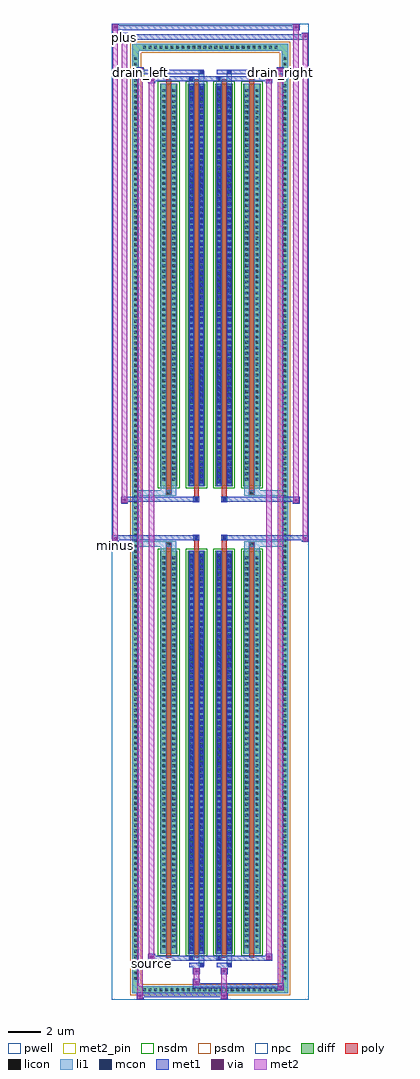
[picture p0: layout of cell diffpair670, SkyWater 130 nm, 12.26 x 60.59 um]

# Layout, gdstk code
import gdstk
lib = gdstk.Library(unit=1e-6, precision=5e-09)
def R(c, l, rs):  # rectangles x0, y0, x1, y1
    for r in rs: c.add(gdstk.rectangle(r[:2], r[2:], *l))
def A(c, l, x, y, w, h, nx, ny, dx, dy):  # array of equal rectangles
    R(c, l, [(x+i*dx, y+j*dy, x+i*dx+w, y+j*dy+h) for i in range(nx) for j in range(ny)])
def P(c, l, *ps):  # polygons
    for p in ps: c.add(gdstk.Polygon(p, *l))
pwell = (64, 44)
diff = (65, 20)
poly = (66, 20)
licon = (66, 44)
li1 = (67, 20)
mcon = (67, 44)
met1 = (68, 20)
via = (68, 44)
met2_pin = (69, 16)
met2 = (69, 20)
nsdm = (93, 44)
psdm = (94, 20)
npc = (95, 20)

diffpair670 = lib.new_cell('diffpair670')
R(diffpair670, pwell, [(-6.11,-29.86,6.11,30.73), (-3.43,-28.05,-0.01,-0.825), (0.01,-28.05,3.43,-0.825), (-3.43,0.825,-0.01,28.05), (0.01,0.825,3.43,28.05)])
A(diffpair670, diff, -4.285, -29.46, 0.41, 0.41, 25, 2, 0.34, 58.51)
A(diffpair670, diff, -4.84, -28.765, 0.41, 0.41, 1, 169, 0, 0.34)
A(diffpair670, diff, 4.43, -28.765, 0.41, 0.41, 1, 169, 0, 0.34)
A(diffpair670, diff, -3.12, -27.005, 1.08, 25, 4, 2, 1.72, 29.01)
R(diffpair670, diff, [(-4.285,-29.46,4.285,-29.05), (-4.84,-28.765,-4.43,28.765), (4.43,-28.765,4.84,28.765), (-4.285,29.05,4.285,29.46)])
P(diffpair670, diff, [(4.84,29.46),(-4.84,29.46),(-4.84,-29.05),(-4.43,-29.05),(-4.43,29.05),(4.43,29.05),(4.43,-29.05),(-4.43,-29.05),(-4.84,-29.05),(-4.84,-29.46),(4.84,-29.46)])
A(diffpair670, poly, -2.73, -27.255, 0.3, 25.5, 4, 2, 1.72, 29.01)
R(diffpair670, poly, [(-2.745,-1.755,-2.415,-1.425), (-2.745,-1.755,-2.415,-1.425), (-1.01,-1.755,-0.71,-1.355), (0.71,-1.755,1.01,-1.355), (2.415,-1.755,2.745,-1.425), (2.415,-1.755,2.745,-1.425), (-1.025,-1.355,-0.695,-1.025), (-1.025,-1.355,-0.695,-1.025), (0.695,-1.355,1.025,-1.025), (0.695,-1.355,1.025,-1.025), (-1.025,1.025,-0.695,1.355), (-1.025,1.025,-0.695,1.355), (0.695,1.025,1.025,1.355), (0.695,1.025,1.025,1.355), (-1.01,1.355,-0.71,1.755), (0.71,1.355,1.01,1.755), (-2.745,1.425,-2.415,1.755), (-2.745,1.425,-2.415,1.755), (2.415,1.425,2.745,1.755), (2.415,1.425,2.745,1.755)])
A(diffpair670, licon, -4.165, -29.34, 0.17, 0.17, 25, 2, 0.34, 58.51)
A(diffpair670, licon, -4.72, -28.645, 0.17, 0.17, 1, 169, 0, 0.34)
A(diffpair670, licon, 4.55, -28.645, 0.17, 0.17, 1, 169, 0, 0.34)
A(diffpair670, licon, -2.98, -26.66, 0.17, 0.17, 1, 72, 0, 0.34)
A(diffpair670, licon, -2.35, -26.66, 0.17, 0.17, 1, 72, 0, 0.34)
A(diffpair670, licon, -1.26, -26.66, 0.17, 0.17, 1, 72, 0, 0.34)
A(diffpair670, licon, -0.63, -26.66, 0.17, 0.17, 1, 72, 0, 0.34)
A(diffpair670, licon, 0.46, -26.66, 0.17, 0.17, 1, 72, 0, 0.34)
A(diffpair670, licon, 1.09, -26.66, 0.17, 0.17, 1, 72, 0, 0.34)
A(diffpair670, licon, 2.18, -26.66, 0.17, 0.17, 1, 72, 0, 0.34)
A(diffpair670, licon, 2.81, -26.66, 0.17, 0.17, 1, 72, 0, 0.34)
A(diffpair670, licon, -2.98, 2.35, 0.17, 0.17, 1, 72, 0, 0.34)
A(diffpair670, licon, -2.35, 2.35, 0.17, 0.17, 1, 72, 0, 0.34)
A(diffpair670, licon, -1.26, 2.35, 0.17, 0.17, 1, 72, 0, 0.34)
A(diffpair670, licon, -0.63, 2.35, 0.17, 0.17, 1, 72, 0, 0.34)
A(diffpair670, licon, 0.46, 2.35, 0.17, 0.17, 1, 72, 0, 0.34)
A(diffpair670, licon, 1.09, 2.35, 0.17, 0.17, 1, 72, 0, 0.34)
A(diffpair670, licon, 2.18, 2.35, 0.17, 0.17, 1, 72, 0, 0.34)
A(diffpair670, licon, 2.81, 2.35, 0.17, 0.17, 1, 72, 0, 0.34)
R(diffpair670, licon, [(-2.665,-1.675,-2.495,-1.505), (2.495,-1.675,2.665,-1.505), (-0.945,-1.275,-0.775,-1.105), (0.775,-1.275,0.945,-1.105), (-0.945,1.105,-0.775,1.275), (0.775,1.105,0.945,1.275), (-2.665,1.505,-2.495,1.675), (2.495,1.505,2.665,1.675)])
A(diffpair670, li1, -4.245, -29.42, 0.33, 0.33, 25, 2, 0.34, 58.51)
A(diffpair670, li1, -4.8, -28.725, 0.33, 0.33, 1, 169, 0, 0.34)
A(diffpair670, li1, 4.47, -28.725, 0.33, 0.33, 1, 169, 0, 0.34)
A(diffpair670, li1, -1.26, -26.83, 0.17, 0.17, 1, 69, 0, 0.36)
A(diffpair670, li1, -0.63, -26.83, 0.17, 0.17, 1, 69, 0, 0.36)
A(diffpair670, li1, 0.46, -26.83, 0.17, 0.17, 1, 69, 0, 0.36)
A(diffpair670, li1, 1.09, -26.83, 0.17, 0.17, 1, 69, 0, 0.36)
A(diffpair670, li1, -3.06, -26.74, 0.33, 0.33, 1, 72, 0, 0.34)
A(diffpair670, li1, -2.43, -26.74, 0.33, 0.33, 1, 72, 0, 0.34)
A(diffpair670, li1, -1.34, -26.74, 0.33, 0.33, 1, 72, 0, 0.34)
A(diffpair670, li1, -0.71, -26.74, 0.33, 0.33, 1, 72, 0, 0.34)
A(diffpair670, li1, 0.38, -26.74, 0.33, 0.33, 1, 72, 0, 0.34)
A(diffpair670, li1, 1.01, -26.74, 0.33, 0.33, 1, 72, 0, 0.34)
A(diffpair670, li1, 2.1, -26.74, 0.33, 0.33, 1, 72, 0, 0.34)
A(diffpair670, li1, 2.73, -26.74, 0.33, 0.33, 1, 72, 0, 0.34)
A(diffpair670, li1, -1.26, 2.18, 0.17, 0.17, 1, 69, 0, 0.36)
A(diffpair670, li1, -0.63, 2.18, 0.17, 0.17, 1, 69, 0, 0.36)
A(diffpair670, li1, 0.46, 2.18, 0.17, 0.17, 1, 69, 0, 0.36)
A(diffpair670, li1, 1.09, 2.18, 0.17, 0.17, 1, 69, 0, 0.36)
A(diffpair670, li1, -3.06, 2.27, 0.33, 0.33, 1, 72, 0, 0.34)
A(diffpair670, li1, -2.43, 2.27, 0.33, 0.33, 1, 72, 0, 0.34)
A(diffpair670, li1, -1.34, 2.27, 0.33, 0.33, 1, 72, 0, 0.34)
A(diffpair670, li1, -0.71, 2.27, 0.33, 0.33, 1, 72, 0, 0.34)
A(diffpair670, li1, 0.38, 2.27, 0.33, 0.33, 1, 72, 0, 0.34)
A(diffpair670, li1, 1.01, 2.27, 0.33, 0.33, 1, 72, 0, 0.34)
A(diffpair670, li1, 2.1, 2.27, 0.33, 0.33, 1, 72, 0, 0.34)
A(diffpair670, li1, 2.73, 2.27, 0.33, 0.33, 1, 72, 0, 0.34)
R(diffpair670, li1, [(-4.84,-29.46,-4.43,-29.05), (-4.84,-29.46,-4.43,-29.05), (-4.43,-29.46,4.43,-29.05), (4.43,-29.46,4.84,-29.05), (4.43,-29.46,4.84,-29.05), (-4.84,-29.05,-4.43,29.05), (4.43,-29.05,4.84,29.05), (-0.71,-27.81,-0.38,-27.005), (-0.63,-27.81,-0.46,-27.64), (1.01,-27.81,1.34,-27.005), (1.09,-27.81,1.26,-27.64), (-1.34,-27.38,-1.01,-27.005), (-1.26,-27.38,-1.09,-27.21), (0.38,-27.38,0.71,-27.005), (0.46,-27.38,0.63,-27.21), (-3.06,-27.005,-2.73,-2.005), (-2.43,-27.005,-2.1,-2.005), (-1.34,-27.005,-1.01,-2.005), (-0.71,-27.005,-0.38,-2.005), (0.38,-27.005,0.71,-2.005), (1.01,-27.005,1.34,-2.005), (2.1,-27.005,2.43,-2.005), (2.73,-27.005,3.06,-2.005), (-1.26,-26.83,-1.09,-2.18), (-0.63,-26.83,-0.46,-2.18), (0.46,-26.83,0.63,-2.18), (1.09,-26.83,1.26,-2.18), (-3.06,-2.005,-2.73,-1.425), (-2.43,-2.005,-2.1,-1.425), (2.1,-2.005,2.43,-1.425), (2.73,-2.005,3.06,-1.425), (-4.84,-1.755,-2.745,-1.425), (-3.06,-1.755,-2.745,-1.425), (-2.745,-1.755,-2.415,-1.425), (-2.415,-1.755,-2.1,-1.425), (2.1,-1.755,2.415,-1.425), (2.415,-1.755,2.745,-1.425), (2.415,-1.755,4.84,-1.425), (2.745,-1.755,3.06,-1.425), (-1.025,-1.355,-0.695,-1.025), (0.695,-1.355,1.025,-1.025), (-1.025,1.025,-0.695,1.355), (0.695,1.025,1.025,1.355), (-4.84,1.425,-2.745,1.755), (-3.06,1.425,-2.745,1.755), (-3.06,1.425,-2.73,2.005), (-2.745,1.425,-2.415,1.755), (-2.43,1.425,-2.1,2.005), (-2.415,1.425,-2.1,1.755), (2.1,1.425,2.415,1.755), (2.1,1.425,2.43,2.005), (2.415,1.425,2.745,1.755), (2.415,1.425,4.84,1.755), (2.73,1.425,3.06,2.005), (2.745,1.425,3.06,1.755), (-3.06,2.005,-2.73,27.005), (-2.43,2.005,-2.1,27.005), (-1.34,2.005,-1.01,27.005), (-0.71,2.005,-0.38,27.005), (0.38,2.005,0.71,27.005), (1.01,2.005,1.34,27.005), (2.1,2.005,2.43,27.005), (2.73,2.005,3.06,27.005), (-1.26,2.18,-1.09,26.83), (-0.63,2.18,-0.46,26.83), (0.46,2.18,0.63,26.83), (1.09,2.18,1.26,26.83), (-1.34,27.005,-1.01,27.38), (-0.71,27.005,-0.38,27.81), (0.38,27.005,0.71,27.38), (1.01,27.005,1.34,27.81), (-1.26,27.21,-1.09,27.38), (0.46,27.21,0.63,27.38), (-0.63,27.64,-0.46,27.81), (1.09,27.64,1.26,27.81), (-4.84,29.05,-4.43,29.46), (-4.84,29.05,-4.43,29.46), (-4.43,29.05,4.43,29.46), (4.43,29.05,4.84,29.46), (4.43,29.05,4.84,29.46)])
A(diffpair670, mcon, -1.26, -26.83, 0.17, 0.17, 1, 69, 0, 0.36)
A(diffpair670, mcon, -0.63, -26.83, 0.17, 0.17, 1, 69, 0, 0.36)
A(diffpair670, mcon, 0.46, -26.83, 0.17, 0.17, 1, 69, 0, 0.36)
A(diffpair670, mcon, 1.09, -26.83, 0.17, 0.17, 1, 69, 0, 0.36)
A(diffpair670, mcon, -1.26, 2.18, 0.17, 0.17, 1, 69, 0, 0.36)
A(diffpair670, mcon, -0.63, 2.18, 0.17, 0.17, 1, 69, 0, 0.36)
A(diffpair670, mcon, 0.46, 2.18, 0.17, 0.17, 1, 69, 0, 0.36)
A(diffpair670, mcon, 1.09, 2.18, 0.17, 0.17, 1, 69, 0, 0.36)
R(diffpair670, mcon, [(-0.63,-27.81,-0.46,-27.64), (1.09,-27.81,1.26,-27.64), (-1.26,-27.38,-1.09,-27.21), (0.46,-27.38,0.63,-27.21), (-0.945,-1.275,-0.775,-1.105), (0.775,-1.275,0.945,-1.105), (-0.945,1.105,-0.775,1.275), (0.775,1.105,0.945,1.275), (-1.26,27.21,-1.09,27.38), (0.46,27.21,0.63,27.38), (-0.63,27.64,-0.46,27.81), (1.09,27.64,1.26,27.81)])
A(diffpair670, met1, -1.32, -26.89, 0.29, 0.29, 1, 69, 0, 0.36)
A(diffpair670, met1, -0.69, -26.89, 0.29, 0.29, 1, 69, 0, 0.36)
A(diffpair670, met1, 0.4, -26.89, 0.29, 0.29, 1, 69, 0, 0.36)
A(diffpair670, met1, 1.03, -26.89, 0.29, 0.29, 1, 69, 0, 0.36)
A(diffpair670, met1, -1.32, 2.12, 0.29, 0.29, 1, 69, 0, 0.36)
A(diffpair670, met1, -0.69, 2.12, 0.29, 0.29, 1, 69, 0, 0.36)
A(diffpair670, met1, 0.4, 2.12, 0.29, 0.29, 1, 69, 0, 0.36)
A(diffpair670, met1, 1.03, 2.12, 0.29, 0.29, 1, 69, 0, 0.36)
R(diffpair670, met1, [(-4.57,-29.86,-4.14,-29.43), (0.645,-29.86,1.075,-29.43), (-4.57,-29.72,1.075,-29.43), (4.14,-29.29,4.57,-28.86), (-1.075,-29.15,4.57,-28.86), (-1.075,-29.01,-0.645,-28.58), (-1.075,-28.3,-0.645,-27.87), (0.645,-28.3,1.075,-27.87), (-1.32,-27.87,-0.4,-27.58), (-0.69,-27.87,-0.4,-27.58), (0.4,-27.87,1.32,-27.58), (1.03,-27.87,1.32,-27.58), (-3.86,-27.44,-3.43,-27.01), (-3.86,-27.44,-1.32,-27.15), (-1.32,-27.44,-1.03,-27.15), (-1.32,-27.44,-0.4,-27.15), (-0.4,-27.44,0.4,-27.15), (0.4,-27.44,0.69,-27.15), (0.4,-27.44,1.32,-27.15), (1.32,-27.44,3.86,-27.15), (3.43,-27.44,3.86,-27.01), (-1.32,-27.005,-1.03,-2.005), (-0.69,-27.005,-0.4,-2.005), (0.4,-27.005,0.69,-2.005), (1.03,-27.005,1.32,-2.005), (-6.11,-1.455,-5.68,-1.025), (5.68,-1.455,6.11,-1.025), (-6.11,-1.355,-0.695,-1.025), (-1.025,-1.355,-0.695,-1.025), (0.695,-1.355,1.025,-1.025), (0.695,-1.355,6.11,-1.025), (-1.005,-1.335,-0.715,-1.045), (0.715,-1.335,1.005,-1.045), (-5.54,0.925,-5.11,1.355), (5.11,0.925,5.54,1.355), (-5.54,1.025,-1.025,1.355), (-1.025,1.025,-0.695,1.355), (0.695,1.025,1.025,1.355), (1.025,1.025,5.54,1.355), (-1.005,1.045,-0.715,1.335), (0.715,1.045,1.005,1.335), (-1.32,2.005,-1.03,27.005), (-0.69,2.005,-0.4,27.005), (0.4,2.005,0.69,27.005), (1.03,2.005,1.32,27.005), (-3.86,27.01,-3.43,27.44), (3.43,27.01,3.86,27.44), (-3.86,27.15,-1.32,27.44), (-1.32,27.15,-1.03,27.44), (-1.32,27.15,-0.4,27.44), (-0.4,27.15,0.4,27.44), (0.4,27.15,0.69,27.44), (0.4,27.15,1.32,27.44), (1.32,27.15,3.86,27.44), (-4.57,27.58,-4.14,28.01), (-4.57,27.58,-1.32,27.87), (-1.32,27.58,-0.4,27.87), (-0.69,27.58,-0.4,27.87), (0.4,27.58,1.32,27.87), (1.03,27.58,1.32,27.87), (1.32,27.58,4.57,27.87), (4.14,27.58,4.57,28.01), (-5.54,29.73,-5.11,30.16), (-5.54,29.73,-3.43,30.06), (-3.43,29.73,3.43,30.06), (3.43,29.73,6.11,30.06), (5.68,29.73,6.11,30.16), (-6.11,30.3,-5.68,30.73), (-6.11,30.3,-3.43,30.63), (-3.43,30.3,3.43,30.63), (3.43,30.3,5.54,30.63), (5.11,30.3,5.54,30.73)])
R(diffpair670, via, [(-4.43,-29.72,-4.28,-29.57), (0.785,-29.72,0.935,-29.57), (4.28,-29.15,4.43,-29), (-0.935,-28.87,-0.785,-28.72), (-0.935,-28.16,-0.785,-28.01), (0.785,-28.16,0.935,-28.01), (-3.72,-27.3,-3.57,-27.15), (3.57,-27.3,3.72,-27.15), (-5.97,-1.315,-5.82,-1.165), (5.82,-1.315,5.97,-1.165), (-5.4,1.065,-5.25,1.215), (5.25,1.065,5.4,1.215), (-3.72,27.15,-3.57,27.3), (3.57,27.15,3.72,27.3), (-4.43,27.72,-4.28,27.87), (4.28,27.72,4.43,27.87), (-5.4,29.87,-5.25,30.02), (5.82,29.87,5.97,30.02), (-5.97,30.44,-5.82,30.59), (5.25,30.44,5.4,30.59)])
R(diffpair670, met2_pin, [(-3.895,-27.89,-3.395,-27.39), (-6.145,-1.905,-5.645,-1.405), (-4.605,27.46,-4.105,27.96), (4.105,27.46,4.605,27.96), (-5.575,29.61,-5.075,30.11)])
R(diffpair670, met2, [(-4.52,-29.81,-4.19,-29.48), (-4.52,-29.81,-4.19,27.96), (0.695,-29.81,1.025,-29.48), (0.695,-29.48,1.025,-28.25), (4.19,-29.24,4.52,-28.91), (4.19,-29.24,4.52,27.96), (-1.025,-28.96,-0.695,-28.63), (-1.025,-28.63,-0.695,-28.25), (-1.025,-28.25,-0.695,-27.92), (0.695,-28.25,1.025,-27.92), (-3.81,-27.39,-3.48,-27.06), (-3.81,-27.39,-3.48,27.39), (3.48,-27.39,3.81,-27.06), (3.48,-27.39,3.81,27.39), (-6.06,-1.405,-5.73,-1.075), (-6.06,-1.405,-5.73,30.68), (5.73,-1.405,6.06,-1.075), (5.73,-1.405,6.06,30.11), (-5.49,0.975,-5.16,1.305), (-5.49,0.975,-5.16,30.11), (5.16,0.975,5.49,1.305), (5.16,0.975,5.49,30.68), (-3.81,27.06,-3.48,27.39), (3.48,27.06,3.81,27.39), (-4.52,27.63,-4.19,27.96), (4.19,27.63,4.52,27.96), (-5.49,29.78,-5.16,30.11), (5.73,29.78,6.06,30.11), (-6.06,30.35,-5.73,30.68), (5.16,30.35,5.49,30.68)])
P(diffpair670, met2, [(6.06,-1.405),(6.06,-1.405),(6.06,-1.075),(6.06,-1.075)],
  [(6.06,29.78),(6.06,29.78),(6.06,30.11),(6.06,30.11)],
  [(-5.73,-1.405),(-5.73,-1.405),(-5.73,-1.075),(-5.73,-1.075)],
  [(-5.73,30.35),(-5.73,30.35),(-5.73,30.68),(-5.73,30.68)],
  [(5.49,0.975),(5.49,0.975),(5.49,1.305),(5.49,1.305)],
  [(5.49,30.35),(5.49,30.35),(5.49,30.68),(5.49,30.68)],
  [(-5.16,0.975),(-5.16,0.975),(-5.16,1.305),(-5.16,1.305)],
  [(-5.16,29.78),(-5.16,29.78),(-5.16,30.11),(-5.16,30.11)],
  [(-4.19,-29.81),(-4.19,-29.81),(-4.19,-29.48),(-4.19,-29.48)],
  [(-4.19,27.63),(-4.19,27.63),(-4.19,27.96),(-4.19,27.96)],
  [(4.52,-29.24),(4.52,-29.24),(4.52,-28.91),(4.52,-28.91)],
  [(4.52,27.63),(4.52,27.63),(4.52,27.96),(4.52,27.96)],
  [(-3.48,-27.39),(-3.48,-27.39),(-3.48,-27.06),(-3.48,-27.06)],
  [(-3.48,27.06),(-3.48,27.06),(-3.48,27.39),(-3.48,27.39)],
  [(3.81,-27.39),(3.81,-27.39),(3.81,-27.06),(3.81,-27.06)],
  [(3.81,27.06),(3.81,27.06),(3.81,27.39),(3.81,27.39)])
A(diffpair670, nsdm, -3.25, -27.135, 1.34, 25.26, 4, 2, 1.72, 29.01)
P(diffpair670, psdm, [(4.97,29.59),(-4.97,29.59),(-4.97,-28.92),(-4.3,-28.92),(-4.3,28.92),(4.3,28.92),(4.3,-28.92),(-4.3,-28.92),(-4.97,-28.92),(-4.97,-29.59),(4.97,-29.59)])
R(diffpair670, npc, [(-2.765,-1.775,-2.395,-1.405), (2.395,-1.775,2.765,-1.405), (-1.045,-1.375,-0.675,-1.005), (0.675,-1.375,1.045,-1.005), (-1.045,1.005,-0.675,1.375), (0.675,1.005,1.045,1.375), (-2.765,1.405,-2.395,1.775), (2.395,1.405,2.765,1.775)])
diffpair670.add(gdstk.Label('minus', (-5.895,-1.655), layer=69, texttype=5))
diffpair670.add(gdstk.Label('drain_right', (4.355,27.71), layer=69, texttype=5))
diffpair670.add(gdstk.Label('drain_left', (-4.355,27.71), layer=69, texttype=5))
diffpair670.add(gdstk.Label('source', (-3.645,-27.64), layer=69, texttype=5))
diffpair670.add(gdstk.Label('plus', (-5.325,29.86), layer=69, texttype=5))

lib.write_gds('diffpair670.gds')
